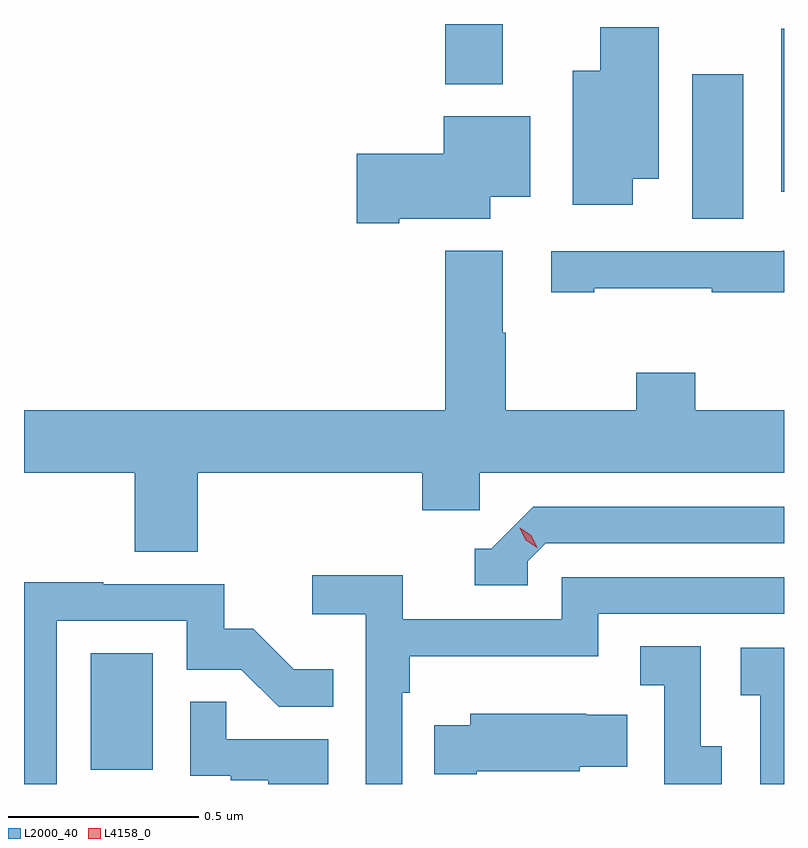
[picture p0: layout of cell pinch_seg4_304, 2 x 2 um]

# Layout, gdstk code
import gdstk
lib = gdstk.Library(unit=1e-6, precision=1e-09)
def R(c, l, rs):  # rectangles x0, y0, x1, y1
    for r in rs: c.add(gdstk.rectangle(r[:2], r[2:], *l))
def P(c, l, *ps):  # polygons
    for p in ps: c.add(gdstk.Polygon(p, *l))
L2000_40 = (2000, 40)
L4158_0 = (4158, 0)

pinch_seg4_304 = lib.new_cell('pinch_seg4_304')
R(pinch_seg4_304, L2000_40, [(951.866,804.03,952.03,804.337), (953.45,805.48,953.584,805.861), (953.684,805.551,953.691,805.981), (952.799,805.835,952.951,805.993)])
P(pinch_seg4_304, L2000_40, [(953.293,805.586),(953.362,805.586),(953.362,805.984),(953.207,805.984),(953.207,805.87),(953.135,805.87),(953.135,805.518),(953.293,805.518)],
  [(952.678,805.481),(952.918,805.481),(952.918,805.538),(953.023,805.538),(953.023,805.75),(952.796,805.75),(952.796,805.652),(952.566,805.652),(952.566,805.469),(952.678,805.469)],
  [(952.148,804.812),(952.739,804.812),(952.739,804.714),(952.89,804.714),(952.89,804.812),(953.691,804.812),(953.691,804.976),(953.457,804.976),(953.457,805.075),(953.302,805.075),(953.302,804.976),(952.959,804.976),(952.959,805.181),(952.951,805.181),(952.951,805.396),(952.799,805.396),(952.799,804.976),(951.691,804.976),(951.691,804.812),(951.983,804.812),(951.983,804.604),(952.148,804.604)],
  [(953.191,805.297),(953.501,805.297),(953.501,805.287),(953.691,805.287),(953.691,805.396),(953.688,805.396),(953.688,805.395),(953.079,805.395),(953.079,805.287),(953.191,805.287)],
  [(953.016,804.579),(953.064,804.627),(953.691,804.627),(953.691,804.723),(953.031,804.723),(952.92,804.612),(952.877,804.612),(952.877,804.516),(953.016,804.516)],
  [(952.686,804.233),(952.706,804.233),(952.706,804.329),(953.202,804.329),(953.202,804.441),(953.691,804.441),(953.691,804.537),(953.106,804.537),(953.106,804.426),(952.688,804.426),(952.688,804.542),(952.449,804.542),(952.449,804.44),(952.59,804.44),(952.59,803.993),(952.686,803.993)],
  [(951.777,804.423),(952.119,804.423),(952.119,804.294),(952.263,804.294),(952.361,804.196),(952.505,804.196),(952.505,804.295),(952.401,804.295),(952.294,804.402),(952.218,804.402),(952.218,804.519),(951.899,804.519),(951.899,804.524),(951.691,804.524),(951.691,803.993),(951.777,803.993)],
  [(953.527,804.093),(953.472,804.093),(953.472,804.356),(953.313,804.356),(953.313,804.253),(953.376,804.253),(953.376,803.993),(953.527,803.993)],
  [(953.691,804.351),(953.577,804.351),(953.577,804.227),(953.628,804.227),(953.628,803.993),(953.691,803.993)],
  [(952.492,804.111),(952.223,804.111),(952.223,804.209),(952.128,804.209),(952.128,804.015),(952.235,804.015),(952.235,804.003),(952.334,804.003),(952.334,803.993),(952.492,803.993)],
  [(952.882,804.026),(953.154,804.026),(953.154,804.038),(953.279,804.038),(953.279,804.175),(953.171,804.175),(953.171,804.178),(952.865,804.178),(952.865,804.148),(952.771,804.148),(952.771,804.019),(952.882,804.019)])
P(pinch_seg4_304, L4158_0, [(953.041,804.615),(953.011,804.634),(952.995,804.667),(952.995,804.667),(952.995,804.667),(953.026,804.648),(953.042,804.615),(953.042,804.615)])

lib.write_gds('pinch_seg4_304.gds')
